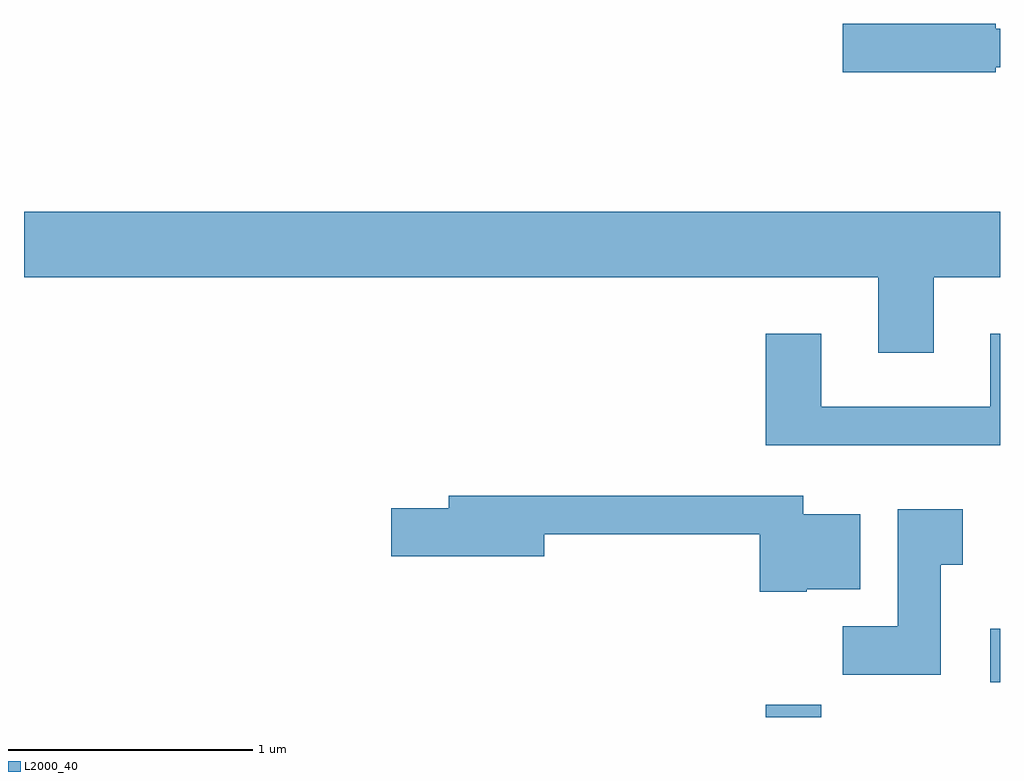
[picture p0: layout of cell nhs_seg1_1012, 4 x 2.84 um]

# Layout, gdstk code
import gdstk
lib = gdstk.Library(unit=1e-6, precision=1e-09)
def R(c, l, rs):  # rectangles x0, y0, x1, y1
    for r in rs: c.add(gdstk.rectangle(r[:2], r[2:], *l))
def P(c, l, *ps):  # polygons
    for p in ps: c.add(gdstk.Polygon(p, *l))
L2000_40 = (2000, 40)

nhs_seg1_1012 = lib.new_cell('nhs_seg1_1012')
R(nhs_seg1_1012, L2000_40, [(218.651,957.712,218.879,957.764), (219.571,957.856,219.611,958.074)])
P(nhs_seg1_1012, L2000_40, [(219.594,960.376),(219.611,960.376),(219.611,960.534),(219.594,960.534),(219.594,960.554),(218.966,960.554),(218.966,960.356),(219.594,960.356)],
  [(219.339,959.516),(219.611,959.516),(219.611,959.784),(215.611,959.784),(215.611,959.516),(219.111,959.516),(219.111,959.206),(219.339,959.206)],
  [(219.611,959.284),(219.571,959.284),(219.571,958.984),(218.879,958.984),(218.879,959.284),(218.651,959.284),(218.651,958.826),(219.611,958.826)],
  [(218.82,958.236),(219.039,958.236),(219.039,958.544),(218.804,958.544),(218.804,958.619),(217.351,958.619),(217.351,958.569),(217.116,958.569),(217.116,958.371),(217.744,958.371),(217.744,958.461),(218.626,958.461),(218.626,958.226),(218.82,958.226)],
  [(219.369,958.336),(219.459,958.336),(219.459,958.564),(219.191,958.564),(219.191,958.084),(218.966,958.084),(218.966,957.886),(219.369,957.886)])

lib.write_gds('nhs_seg1_1012.gds')
